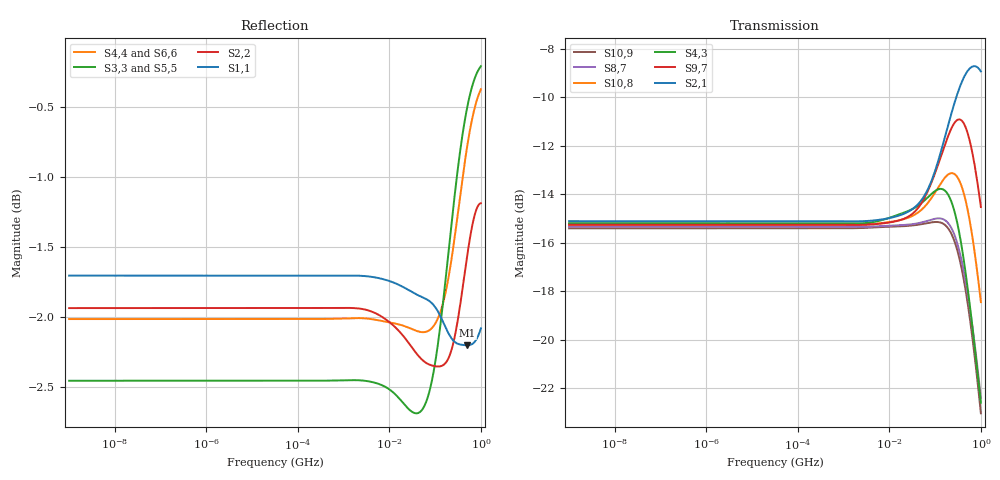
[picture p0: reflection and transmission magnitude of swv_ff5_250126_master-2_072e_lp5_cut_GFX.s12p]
! Touchstone file exported from Ansys Full-Wave Spice
! Project: 0001_PSI_S-parameter_Sweep
!  Design: unknown
! Creation time: Thu Apr 17 16:39:10 2025
! Notes: ! Touchstone(R) file created by SIwave 2025 R1
!  : ! Touchstone(R) file created on Thu Apr 17 16:39:10 2025
# HZ S RI R 0.1
! Modal data exported
! Port[1] = PORT_1_DIE1_VDDCR_GFX_Group_DIE1_VSS_Group
! Port[2] = PORT_2_BGA1_VDDCR_GFX_Group_BGA1_VSS_Group
! Port[3] = VDDCR_GFX_C8_2
! Port[4] = VDDCR_GFX_C12_2
! Port[5] = VDDCR_GFX_C42_2
! Port[6] = VDDCR_GFX_C43_2
! Port[7] = VDDCR_GFX_C44_1
! Port[8] = VDDCR_GFX_C45_2
! Port[9] = VDDCR_GFX_C46_1
! Port[10] = VDDCR_GFX_C47_2
! Port[11] = VDDCR_GFX_C92_1
! Port[12] = VDDCR_GFX_C128_2
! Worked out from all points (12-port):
!   420 points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, 1 Hz to 1 GHz, reference 0.1 ohm
!   strongest paths, dB at 1 Hz, 3.687 kHz, 11.66 MHz, 482.9 MHz, 1 GHz:
!     S2,1: -15.1, -15.1, -15.0, -9.0, -8.9
!     S9,7: -15.3, -15.3, -15.1, -11.3, -14.5
!     S4,3: -15.2, -15.2, -14.9, -17.5, -22.6
!     S10,8: -15.3, -15.3, -15.1, -14.4, -18.5
!     S8,7: -15.3, -15.3, -15.3, -17.8, -22.4
!     S10,9: -15.4, -15.4, -15.3, -18.2, -23.0
!   lowest |S11| = -2.2 dB at 502.8 MHz (marker M1), VSWR 7.92, Z = 0.0142 + j0.0349 ohm
!   |S11| at or under -10 dB: nowhere
